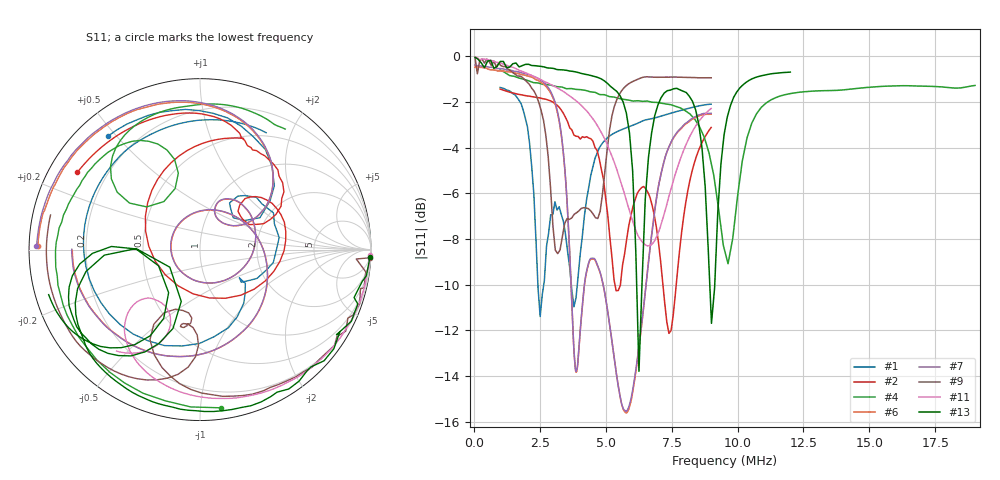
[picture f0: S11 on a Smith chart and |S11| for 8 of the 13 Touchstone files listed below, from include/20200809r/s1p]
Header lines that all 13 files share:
# Hz S RI R 50
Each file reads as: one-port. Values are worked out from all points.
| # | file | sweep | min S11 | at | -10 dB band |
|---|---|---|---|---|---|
| 1 | 724A_out.s1p | 1 MHz to 9 MHz | -11.4 dB | 2.52 MHz | 221.1 kHz wide |
| 2 | 724B_out.s1p | 1 MHz to 9 MHz | -12.1 dB | 7.4 MHz | 504.3 kHz wide |
| 3 | ATL_annular.s1p | 1 MHz to 8.999 MHz | -18.1 dB | 3.973 MHz | 320.5 kHz wide |
| 4 | bard_out.s1p | 1 MHz to 19 MHz | -9.1 dB | 9.64 MHz | - |
| 5 | biviin.s1p | 50 kHz to 9 MHz | -20.4 dB | 3.353 MHz | 1.249 MHz wide |
| 6 | probeAin.s1p | 50 kHz to 9 MHz | -15.6 dB | 5.785 MHz | 1.626 MHz wide |
| 7 | probeAout.s1p | 50 kHz to 9 MHz | -15.5 dB | 5.785 MHz | 1.626 MHz wide |
| 8 | probeC.s1p | 50 kHz to 9 MHz | -19.2 dB | 3.183 MHz | 1.809 MHz wide |
| 9 | probeDin.s1p | 50 kHz to 9 MHz | -8.6 dB | 3.183 MHz | - |
| 10 | probeEin.s1p | 50 kHz to 9 MHz | -10.9 dB | 4.704 MHz | 238.2 kHz wide |
| 11 | ProbeFin.s1p | 50 kHz to 9 MHz | -8.3 dB | 6.583 MHz | - |
| 12 | probeGin.s1p | 50 kHz to 12 MHz | -5.6 dB | 8.654 MHz | - |
| 13 | probeGout.s1p | 50 kHz to 12 MHz | -13.8 dB | 6.264 MHz | 187.8 kHz wide |
